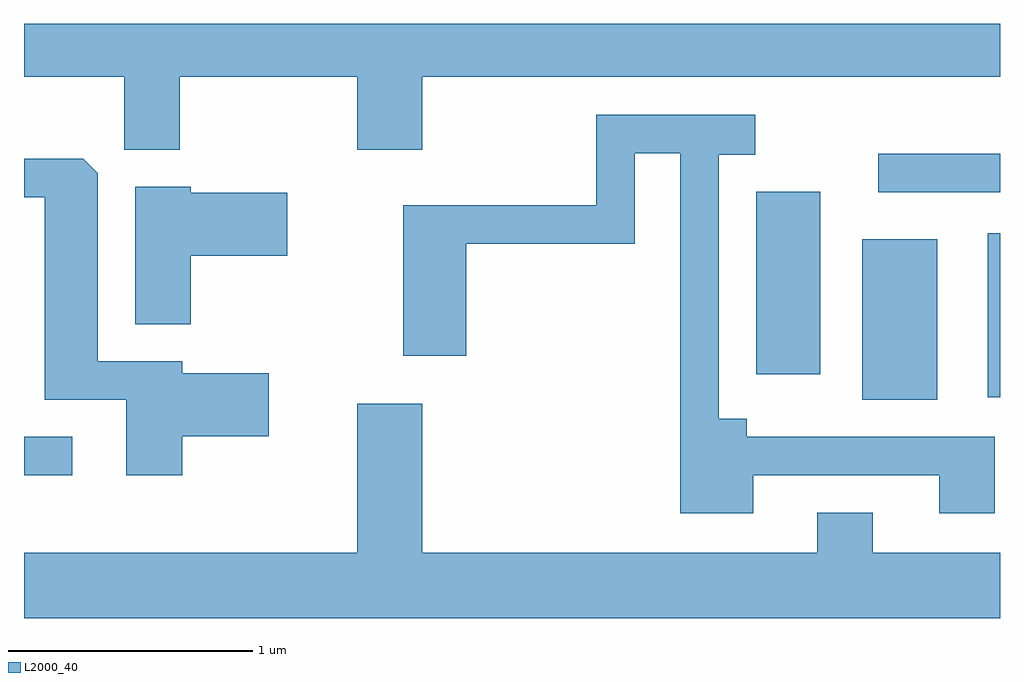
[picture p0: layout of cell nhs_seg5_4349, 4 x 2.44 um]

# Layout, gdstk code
import gdstk
lib = gdstk.Library(unit=1e-6, precision=1e-09)
def R(c, l, rs):  # rectangles x0, y0, x1, y1
    for r in rs: c.add(gdstk.rectangle(r[:2], r[2:], *l))
def P(c, l, *ps):  # polygons
    for p in ps: c.add(gdstk.Polygon(p, *l))
L2000_40 = (2000, 40)

nhs_seg5_4349 = lib.new_cell('nhs_seg5_4349')
R(nhs_seg5_4349, L2000_40, [(313.611,1506.221,313.808,1506.379), (317.046,1506.531,317.354,1507.189), (317.561,1506.541,317.611,1507.214), (316.611,1506.636,316.874,1507.384), (317.113,1507.381,317.611,1507.539)])
P(nhs_seg5_4349, L2000_40, [(314.249,1507.856),(314.976,1507.856),(314.976,1507.556),(315.244,1507.556),(315.244,1507.856),(317.611,1507.856),(317.611,1508.072),(313.611,1508.072),(313.611,1507.856),(314.021,1507.856),(314.021,1507.556),(314.249,1507.556)],
  [(316.599,1506.221),(317.361,1506.221),(317.361,1506.066),(317.589,1506.066),(317.589,1506.379),(316.574,1506.379),(316.574,1506.454),(316.459,1506.454),(316.459,1507.536),(316.608,1507.536),(316.608,1507.699),(315.956,1507.699),(315.956,1507.329),(315.166,1507.329),(315.166,1506.711),(315.424,1506.711),(315.424,1507.171),(316.114,1507.171),(316.114,1507.541),(316.301,1507.541),(316.301,1506.066),(316.599,1506.066)],
  [(314.259,1506.381),(314.614,1506.381),(314.614,1506.639),(314.259,1506.639),(314.259,1506.689),(313.914,1506.689),(313.914,1507.459),(313.854,1507.519),(313.611,1507.519),(313.611,1507.361),(313.696,1507.361),(313.696,1506.531),(314.031,1506.531),(314.031,1506.221),(314.259,1506.221)],
  [(314.294,1507.121),(314.689,1507.121),(314.689,1507.379),(314.294,1507.379),(314.294,1507.404),(314.066,1507.404),(314.066,1506.841),(314.294,1506.841)],
  [(317.611,1505.904),(317.089,1505.904),(317.089,1506.069),(316.861,1506.069),(316.861,1505.904),(315.244,1505.904),(315.244,1506.514),(314.976,1506.514),(314.976,1505.904),(313.611,1505.904),(313.611,1505.636),(317.611,1505.636)])

lib.write_gds('nhs_seg5_4349.gds')
